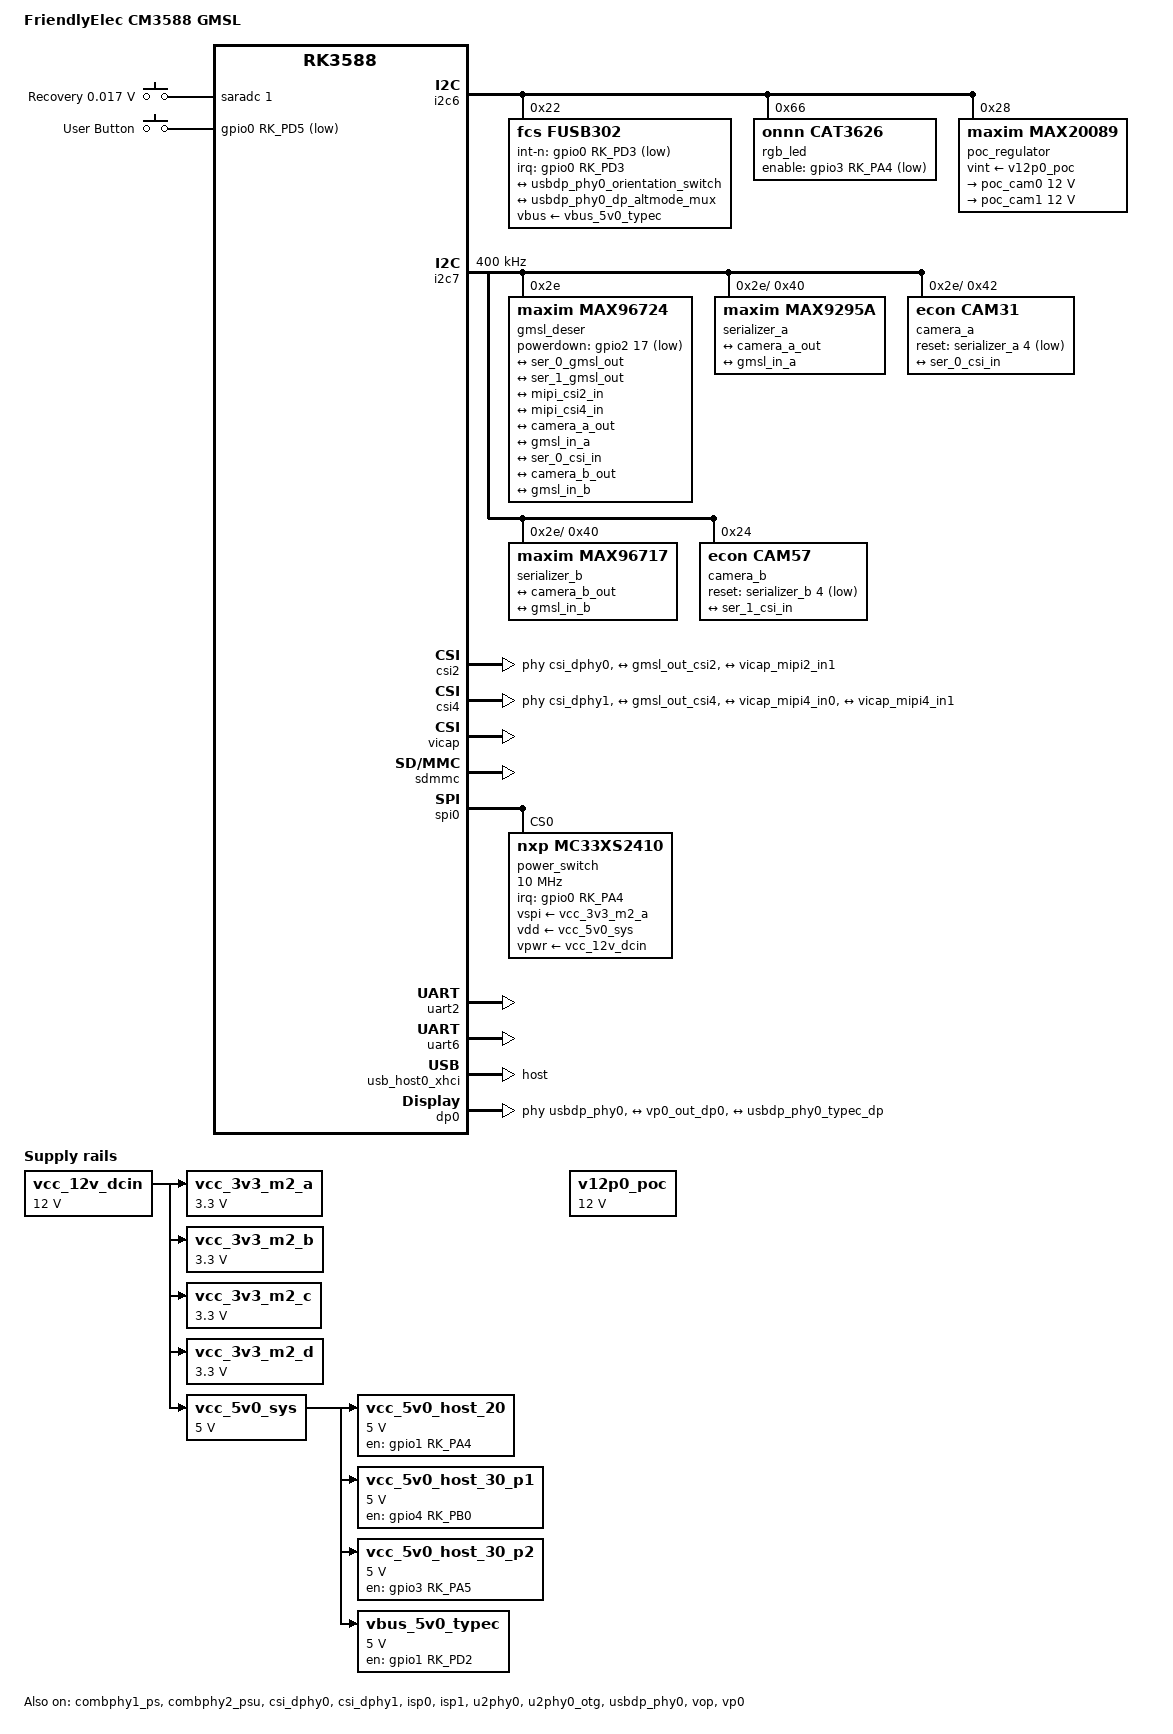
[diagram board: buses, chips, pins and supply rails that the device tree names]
// SPDX-License-Identifier: (GPL-2.0+ OR MIT)
/*
 * Copyright (c) 2021 Rockchip Electronics Co., Ltd.
 * Copyright (c) 2023 Thomas McKahan
 * Copyright (c) 2024 Sebastian Kropatsch
 *
 */

/dts-v1/;

#include <dt-bindings/gpio/gpio.h>
#include <dt-bindings/input/input.h>
#include <dt-bindings/pinctrl/rockchip.h>
#include <dt-bindings/soc/rockchip,vop2.h>
#include <dt-bindings/usb/pd.h>
#include <dt-bindings/leds/common.h>

#include "rk3588-friendlyelec-cm3588.dtsi"
#include "rk3588-rkvenc-mpp.dtsi"

#define ENABLE_CAM31 1

/ {
	model = "FriendlyElec CM3588 GMSL";
	compatible = "friendlyarm,cm3588-gmsl", "friendlyarm,cm3588", "rockchip,rk3588";

	adc_key_recovery: adc-key-recovery {
		compatible = "adc-keys";
		io-channels = <&saradc 1>;
		io-channel-names = "buttons";
		keyup-threshold-microvolt = <1800000>;
		poll-interval = <100>;

		button-recovery {
			label = "Recovery";
			linux,code = <KEY_VENDOR>;
			press-threshold-microvolt = <17000>;
		};
	};

	analog-sound {
		compatible = "simple-audio-card";

		simple-audio-card,format = "i2s";
		simple-audio-card,mclk-fs = <256>;
		simple-audio-card,name = "realtek,rt5616-codec";

		simple-audio-card,routing =
			"Headphones", "HPOL",
			"Headphones", "HPOR",
			"MIC1", "Microphone Jack",
			"Microphone Jack", "micbias1";
		simple-audio-card,widgets =
			"Headphone", "Headphones",
			"Microphone", "Microphone Jack";

		simple-audio-card,cpu {
			sound-dai = <&i2s0_8ch>;
		};

		simple-audio-card,codec {
			sound-dai = <&rt5616>;
		};
	};

	gpio_keys: gpio-keys {
		compatible = "gpio-keys";
		pinctrl-names = "default";
		pinctrl-0 = <&key1_pin>;

		button-user {
			debounce-interval = <50>;
			gpios = <&gpio0 RK_PD5 GPIO_ACTIVE_LOW>;
			label = "User Button";
			linux,code = <BTN_1>;
			wakeup-source;
		};
	};

	vcc_12v_dcin: regulator-vcc-12v-dcin {
		compatible = "regulator-fixed";
		regulator-name = "vcc_12v_dcin";
		regulator-always-on;
		regulator-boot-on;
		regulator-min-microvolt = <12000000>;
		regulator-max-microvolt = <12000000>;
	};

	vcc_3v3_m2_a: regulator-vcc-3v3-m2-a {
		compatible = "regulator-fixed";
		regulator-name = "vcc_3v3_m2_a";
		regulator-always-on;
		regulator-boot-on;
		regulator-min-microvolt = <3300000>;
		regulator-max-microvolt = <3300000>;
		vin-supply = <&vcc_12v_dcin>;
	};

	vcc_3v3_m2_b: regulator-vcc-3v3-m2-b {
		compatible = "regulator-fixed";
		regulator-name = "vcc_3v3_m2_b";
		regulator-always-on;
		regulator-boot-on;
		regulator-min-microvolt = <3300000>;
		regulator-max-microvolt = <3300000>;
		vin-supply = <&vcc_12v_dcin>;
	};

	vcc_3v3_m2_c: regulator-vcc-3v3-m2-c {
		compatible = "regulator-fixed";
		regulator-name = "vcc_3v3_m2_c";
		regulator-always-on;
		regulator-boot-on;
		regulator-min-microvolt = <3300000>;
		regulator-max-microvolt = <3300000>;
		vin-supply = <&vcc_12v_dcin>;
	};

	vcc_3v3_m2_d: regulator-vcc-3v3-m2-d {
		compatible = "regulator-fixed";
		regulator-name = "vcc_3v3_m2_d";
		regulator-always-on;
		regulator-boot-on;
		regulator-min-microvolt = <3300000>;
		regulator-max-microvolt = <3300000>;
		vin-supply = <&vcc_12v_dcin>;
	};

	/* vcc_5v0_sys powers the peripherals */
	vcc_5v0_sys: regulator-vcc-5v0-sys {
		compatible = "regulator-fixed";
		regulator-name = "vcc_5v0_sys";
		regulator-always-on;
		regulator-boot-on;
		regulator-min-microvolt = <5000000>;
		regulator-max-microvolt = <5000000>;
		vin-supply = <&vcc_12v_dcin>;
	};

	/* SY6280AAC power switch (U14 in schematics) */
	vcc_5v0_host_20: regulator-vcc-5v0-host-20 {
		compatible = "regulator-fixed";
		enable-active-high;
		gpios = <&gpio1 RK_PA4 GPIO_ACTIVE_HIGH>;
		pinctrl-names = "default";
		pinctrl-0 = <&vcc_5v0_host20_en>;
		regulator-name = "vcc_5v0_host_20";
		regulator-min-microvolt = <5000000>;
		regulator-max-microvolt = <5000000>;
		vin-supply = <&vcc_5v0_sys>;
	};

	/* SY6280AAC power switch (U8 in schematics) */
	vcc_5v0_host_30_p1: regulator-vcc-5v0-host-30-p1 {
		compatible = "regulator-fixed";
		enable-active-high;
		gpios = <&gpio4 RK_PB0 GPIO_ACTIVE_HIGH>;
		pinctrl-names = "default";
		pinctrl-0 = <&vcc_5v0_host30p1_en>;
		regulator-name = "vcc_5v0_host_30_p1";
		regulator-min-microvolt = <5000000>;
		regulator-max-microvolt = <5000000>;
		vin-supply = <&vcc_5v0_sys>;
	};

	/* SY6280AAC power switch (U9 in schematics) */
	vcc_5v0_host_30_p2: regulator-vcc-5v0-host-30-p2 {
		compatible = "regulator-fixed";
		enable-active-high;
		gpios = <&gpio3 RK_PA5 GPIO_ACTIVE_HIGH>;
		pinctrl-names = "default";
		pinctrl-0 = <&vcc_5v0_host30p2_en>;
		regulator-name = "vcc_5v0_host_30_p2";
		regulator-min-microvolt = <5000000>;
		regulator-max-microvolt = <5000000>;
		vin-supply = <&vcc_5v0_sys>;
	};

	/* SY6280AAC power switch (U10 in schematics) */
	vbus_5v0_typec: regulator-vbus-5v0-typec {
		compatible = "regulator-fixed";
		enable-active-high;
		gpios = <&gpio1 RK_PD2 GPIO_ACTIVE_HIGH>;
                regulator-always-on;
                regulator-boot-on;
		pinctrl-names = "default";
		pinctrl-0 = <&typec_5v_pwr_en>;
		regulator-name = "vbus_5v0_typec";
		regulator-min-microvolt = <5000000>;
		regulator-max-microvolt = <5000000>;
		vin-supply = <&vcc_5v0_sys>;
	};

	v12p0_poc: v12p0-poc-regulator {
		compatible = "regulator-fixed";
		regulator-name = "v12p0_poc";
		regulator-min-microvolt = <12000000>;
		regulator-max-microvolt = <12000000>;
		regulator-always-on;
	};
};

/* vcc_4v0_sys powers the RK806 and RK860's */
&vcc_4v0_sys {
	vin-supply = <&vcc_12v_dcin>;
};

/* Combo PHY 1 is configured to act as as PCIe 2.0 PHY */
/* Used by PCIe controller 2 (pcie2x1l0) */
&combphy1_ps {
	status = "okay";
};

/* Combo PHY 2 is configured to act as USB3 PHY */
/* Used by USB 3.0 OTG 2 controller (USB 3.0 Type-A port 2) */
/* CM3588 USB Controller Config Table: USB30 HOST2 */
&combphy2_psu {
	status = "okay";
};

/* GPIO names are in the format "Human-readable-name [SIGNAL_LABEL]" */
/* Signal labels match the official CM3588 NAS SDK schematic revision 2309 */
&gpio0 {
	gpio-line-names =
		/* GPIO0 A0-A7 */
		"", "", "", "",
		"MicroSD detect [SDMMC_DET_L]", "", "", "",
		/* GPIO0 B0-B7 */
		"", "", "", "",
		"", "", "", "",
		/* GPIO0 C0-C7 */
		"", "", "", "",
		"Pin 10 [UART0_RX_M0]", "Pin 08 [UART0_TX_M0]", "", "",
		/* GPIO0 D0-D7 */
		"", "", "", "USB3 Type-C [CC_INT_L]",
		"", "User Button", "", "";
};

&gpio1 {
	gpio-line-names =
		/* GPIO1 A0-A7 */
		"Pin 27 [UART6_RX_M1]", "Pin 28 [UART6_TX_M1]", "", "",
		"USB2 Type-A [USB2_PWREN]", "", "", "Pin 15",
		/* GPIO1 B0-B7 */
		"Pin 26", "Pin 21 [SPI0_MISO_M2]", "Pin 19 [SPI0_MOSI_M2/UART4_RX_M2]", "Pin 23 [SPI0_CLK_M2/UART4_TX_M2]",
		"Pin 24 [SPI0_CS0_M2/UART7_RX_M2]", "Pin 22 [SPI0_CS1_M0/UART7_TX_M2]", "", "CSI-Pin 14 [MIPI_CAM2_CLKOUT]",
		/* GPIO1 C0-C7 */
		"", "", "", "",
		"Headphone detect [HP_DET_L]", "", "", "",
		/* GPIO1 D0-D7 */
		"", "", "USB3 Type-C [TYPEC5V_PWREN_H]", "",
		"", "HDMI-in detect [HDMIIRX_DET_L]", "Pin 05 [I2C8_SCL_M2]", "Pin 03 [I2C8_SDA_M2]";
};

&gpio2 {
	gpio-line-names =
		/* GPIO2 A0-A7 */
		"", "", "", "",
		"", "", "SPI NOR Flash [FSPI_D0_M1]", "SPI NOR Flash [FSPI_D1_M1]",
		/* GPIO2 B0-B7 */
		"SPI NOR Flash [FSPI_D2_M1]", "SPI NOR Flash [FSPI_D3_M1]", "", "SPI NOR Flash [FSPI_CLK_M1]",
		"SPI NOR Flash [FSPI_CSN0_M1]", "", "", "",
		/* GPIO2 C0-C7 */
		"", "CSI-Pin 11 [MIPI_CAM2_RESET_L]", "CSI-Pin 12 [MIPI_CAM2_PDN_L]", "",
		"", "", "", "",
		/* GPIO2 D0-D7 */
		"", "", "", "",
		"", "", "", "";
};

&gpio3 {
	gpio-line-names =
		/* GPIO3 A0-A7 */
		"Pin 35 [SPI4_MISO_M1]", "Pin 38 [SPI4_MOSI_M1]", "Pin 40 [SPI4_CLK_M1/UART8_TX_M1]", "Pin 36 [SPI4_CS0_M1/UART8_RX_M1]",
		"Pin 37 [SPI4_CS1_M1]", "USB3-A #2 [USB3_2_PWREN]", "DSI-Pin 12 [LCD_RST]", "",
		/* GPIO3 B0-B7 */
		"", "DSI-Pin 10 [LCD_BL]", "Pin 07", "Pin 16",
		"Pin 18", "Pin 29 [UART3_TX_M1]", "Pin 31 [UART3_RX_M1]", "Pin 12",
		/* GPIO3 C0-C7 */
		"DSI-Pin 08 [TP_INT_L]", "DSI-Pin 14 [TP_RST_L]", "Pin 11", "Pin 13",
		"", "", "", "DSI-Pin 06 [I2C5_SCL_M0_TP]",
		/* GPIO3 D0-D7 */
		"DSI-Pin 05 [I2C5_SDA_M0_TP]", "", "", "",
		"", "", "", "";
};

&gpio4 {
	gpio-line-names =
		/* GPIO4 A0-A7 */
		"", "", "M.2 M-Key Slot4 [M2_D_PERST_L]", "",
		"", "", "", "",
		/* GPIO4 B0-B7 */
		"USB3-A #1 [USB3_TYPEC1_PWREN]", "", "", "M.2 M-Key Slot3 [M2_C_PERST_L]",
		"M.2 M-Key Slot2 [M2_B_PERST_L]", "M.2 M-Key Slot1 [M2_A_CLKREQ_L]", "M.2 M-Key Slot1 [M2_A_PERST_L]", "",
		/* GPIO4 C0-C7 */
		"", "", "", "",
		"", "", "", "",
		/* GPIO4 D0-D7 */
		"", "", "", "",
		"", "", "", "";
};

&i2c6 {
	status = "okay";
	#address-cells = <1>;
	#size-cells = <0>;

	fusb302: typec-portc@22 {
		compatible = "fcs,fusb302";
		reg = <0x22>;
		interrupt-parent = <&gpio0>;
		interrupts = <RK_PD3 IRQ_TYPE_LEVEL_LOW>;
		int-n-gpios = <&gpio0 RK_PD3 GPIO_ACTIVE_LOW>;
		pinctrl-names = "default";
		pinctrl-0 = <&usbc0_int>;
		vbus-supply = <&vbus_5v0_typec>;
		status = "okay";

		usb_con: connector {
			compatible = "usb-c-connector";
			label = "USB-C";
			data-role = "host";
			power-role = "source";
			/* Set Rp pull-up current explicitly to 1.5A mode */
			typec-power-opmode = "1.5A";
			source-pdos = <PDO_FIXED(5000, 2000, PDO_FIXED_USB_COMM)>;
			vbus-supply = <&vbus_5v0_typec>;

                        mode-switch = <&usbdp_phy0>;
                        orientation-switch = <&usbdp_phy0>;

			altmodes {
				#address-cells = <1>;
				#size-cells = <0>;

				altmode@0 {
					reg = <0>;
					svid = <0xff01>;
					vdo = <0xffffffff>;
				};
			};

			ports {
				#address-cells = <1>;
				#size-cells = <0>;

				port@0 {
					reg = <0>;
					usbc0_orien_sw: endpoint {
						remote-endpoint = <&usbdp_phy0_orientation_switch>;
					};
				};

				port@1 {
					reg = <1>;
					dp_altmode_mux: endpoint {
						remote-endpoint = <&usbdp_phy0_dp_altmode_mux>;
					};
				};
			};
		};
	};

	rgb_led: led-controller@66 {
		compatible = "onnn,cat3626";
		reg = <0x66>;
                #address-cells = <1>;
                #size-cells = <0>;
                
		pinctrl-names = "default";
		pinctrl-0 = <&rgb_enable_pin>;
		enable-gpios = <&gpio3 RK_PA4 GPIO_ACTIVE_LOW>;

		multi-led {
			color = <LED_COLOR_ID_RGB>;

			#address-cells = <1>;
			#size-cells = <0>;

			led@0 {
			    reg = <0>;
			    color = <LED_COLOR_ID_RED>;
			};

			led@1 {
			    reg = <1>;
			    color = <LED_COLOR_ID_GREEN>;
			};

			led@2 {
			    reg = <2>;
			    color = <LED_COLOR_ID_BLUE>;
			};
		};
	};

	poc_regulator: poc-switches@28 {
		compatible = "maxim,max20089";
		reg = <0x28>;
		vint-supply = <&v12p0_poc>;
		maxim,outputs = <2>;
		status = "okay";

		regulators {
			#address-cells = <1>;
			#size-cells = <0>;

			poc_cam0: out1 {
				reg = <0>;
				regulator-name = "poc_cam0";
				regulator-min-microvolt = <12000000>;
				regulator-max-microvolt = <12000000>;
				regulator-always-on;
				regulator-boot-on;
			};

			poc_cam1: out2 {
				reg = <1>;
				regulator-name = "poc_cam1";
				regulator-min-microvolt = <12000000>;
				regulator-max-microvolt = <12000000>;
				regulator-always-on;
				regulator-boot-on;
			};
		};
	};
};

/* =================================================================
 * I2C7: MAX96724 Deserializer + Downstream Devices
 * ================================================================= */
&i2c7 {
    status = "okay";
    clock-frequency = <400000>;

    gmsl_deser: deserializer@2e {
        compatible = "maxim,max96724";
        reg = <0x2e>;

        i2c-alias-pool = <0x64 0x65 0x66 0x67 0x68 0x69 0x6a 0x6b>;

        pinctrl-names = "default";
        pinctrl-0 = <&deser_pwdn_pin>;
        powerdown-gpios = <&gpio2 17 GPIO_ACTIVE_LOW>;

        #address-cells = <1>;
        #size-cells = <0>;

        ports {
            #address-cells = <1>;
            #size-cells = <0>;

#if ENABLE_CAM31
            /* STURDeCAM31 on Link A */
            port@0 {
                reg = <0>;
                gmsl_in_a: endpoint {
                    remote-endpoint = <&ser_0_gmsl_out>;
                };
            };
#endif

            /* STURDeCAM57 on Link B */
            port@1 {
                reg = <1>;
                gmsl_in_b: endpoint {
                    remote-endpoint = <&ser_1_gmsl_out>;
                };
            };


#if ENABLE_CAM31
            /* Pad 4: MIPI PHY 0 (2-lane CAM31) */
            port@4 {
                reg = <4>;
                gmsl_out_csi2: endpoint {
                    remote-endpoint = <&mipi_csi2_in>;
                    data-lanes = <1 2>;
                };
            };
#endif

            /* Pad 6: MIPI PHY 2/3 (4-lane CAM57) */
            port@6 {
                reg = <6>;
                gmsl_out_csi4: endpoint {
                    remote-endpoint = <&mipi_csi4_in>;
                    data-lanes = <1 2 3 4>;
                    link-frequencies = /bits/ 64 <750000000>;
                };
            };
        };

        i2c-atr {
            #address-cells = <1>;
            #size-cells = <0>;

#if ENABLE_CAM31
            /* Link 0: STURDeCAM31 (Sony ISX031) */
            i2c@0 {
                #address-cells = <1>;
                #size-cells = <0>;
                reg = <0>;

                serializer_a: serializer@40 {
                    compatible = "maxim,max9295a";
                    reg = <0x40>;
                    gpio-controller;
                    #gpio-cells = <2>;
                    gpio-ranges = <&serializer_a 0 0 11>;

                    ports {
                        #address-cells = <1>;
                        #size-cells = <0>;

                        port@0 {
                            reg = <0>;
                            ser_0_csi_in: endpoint {
                                remote-endpoint = <&camera_a_out>;
                            };
                        };

                        port@1 {
                            reg = <1>;
                            ser_0_gmsl_out: endpoint {
                                remote-endpoint = <&gmsl_in_a>;
                            };
                        };
                    };
                };

                camera_a: sensor@42 {
                    compatible = "econ,cam31";
                    reg = <0x42>;
                    reset-gpios = <&serializer_a 4 GPIO_ACTIVE_LOW>;

                    port {
                        camera_a_out: endpoint {
                            remote-endpoint = <&ser_0_csi_in>;
                            data-lanes = <1 2>;
                        };
                    };
                };
            };
#endif

            /* Link 1: STURDeCAM57 (OmniVision OX05B1S) */
            i2c@1 {
                #address-cells = <1>;
                #size-cells = <0>;
                reg = <1>;

                serializer_b: serializer@40 {
                    compatible = "maxim,max96717";
                    reg = <0x40>;
                    gpio-controller;
                    #gpio-cells = <2>;
                    gpio-ranges = <&serializer_b 0 0 5>;

		    ports {
                        #address-cells = <1>;
                        #size-cells = <0>;

                        port@0 {
                            reg = <0>;
                            ser_1_csi_in: endpoint {
                                remote-endpoint = <&camera_b_out>;
                            };
                        };

                        port@1 {
                            reg = <1>;
                            ser_1_gmsl_out: endpoint {
                                remote-endpoint = <&gmsl_in_b>;
                            };
                        };
                    };
                };
            };
        };
    };

    /*
     * Define CAM57 outside the i2c-atr because it manages its own
     * pca9640 I2C mux connected to the MAX96717 serializer.
     */
    camera_b: sensor@24 {
        compatible = "econ,cam57";
        reg = <0x24>;
        reset-gpios = <&serializer_b 4 GPIO_ACTIVE_LOW>;

        port {
             camera_b_out: endpoint {
                 remote-endpoint = <&ser_1_csi_in>;
                 data-lanes = <1 2 3 4>;
             };
        };
    };
};

/* =================================================================
 * 2. MIPI D-PHY0 & CSI2 Host Controller (CAM31 - 2 Lanes, ISP Bypass)
 * ================================================================= */
#if ENABLE_CAM31
&csi_dphy0 {
        status = "okay";
};

&csi2 {
	status = "okay";
        phys = <&csi_dphy0>;
        phy-names = "dphy";

	ports {
		#address-cells = <1>;
		#size-cells = <0>;

		port@0 {
			reg = <0>;
			mipi_csi2_in: endpoint {
				remote-endpoint = <&gmsl_out_csi2>;
				data-lanes = <1 2>;
			};
		};

		/* Direct Output to VICAP (Path 2) */
		port@1 {
			reg = <1>;
			mipi_csi2_out: endpoint {
				remote-endpoint = <&vicap_mipi2_in1>;
			};
		};
	};
};
#endif

/* =================================================================
 * 3. MIPI D-PHY1 & CSI4 Host Controller (CAM57 - 4 Lanes, VC0/VC1)
 * ================================================================= */

&csi_dphy1 {
        status = "okay";
};

&csi4 {
	status = "okay";
        phys = <&csi_dphy1>;
        phy-names = "dphy";

	ports {
		#address-cells = <1>;
		#size-cells = <0>;

		/* Port 0: Receive directly from Deserializer PHY Output */
		port@0 {
			reg = <0>;
			mipi_csi4_in: endpoint {
				remote-endpoint = <&gmsl_out_csi4>;
				data-lanes = <1 2 3 4>;
			};
		};

		/* Port 1: Output to VICAP */
		port@1 {
			reg = <1>;
			#address-cells = <1>;
			#size-cells = <0>;

			mipi_csi4_out0: endpoint@0 {
				reg = <0>;
				remote-endpoint = <&vicap_mipi4_in0>;
			};

			mipi_csi4_out1: endpoint@1 {
				reg = <1>;
				remote-endpoint = <&vicap_mipi4_in1>;
			};
		};
	};
};

/* =================================================================
 * Enable VICAP & VICAP System MMU
 * ================================================================= */
&vicap_mmu {
	status = "okay";
};

&vicap {
	status = "okay";

	mipi_csi2 {
		status = "okay";

		ports {
			#address-cells = <1>;
			#size-cells = <0>;

			/* CAM57 VC0 (RGB) Input from CSI4 */
			port@0 {
				reg = <0>;
				vicap_mipi4_in0: endpoint {
					remote-endpoint = <&mipi_csi4_out0>;
				};
			};

			/* CAM57 VC1 (IR) Input from CSI4 */
			port@1 {
				reg = <1>;
				vicap_mipi4_in1: endpoint {
					remote-endpoint = <&mipi_csi4_out1>;
				};
			};

#if ENABLE_CAM31
			/* CAM31 Input from CSI2 (Bypass Path) */
			port@2 {
				reg = <2>;
				vicap_mipi2_in1: endpoint {
					remote-endpoint = <&mipi_csi2_out>;
				};
			};
#endif
		};
	};

	/* VICAP Output Ports to ISP Engines */
	vicap_outputs {
		#address-cells = <1>;
		#size-cells = <0>;

		/* VICAP Stream 0 -> ISP0 (CAM57 RGB Processing) */
		port@0 {
			reg = <0>;
			vicap_isp0_out: endpoint {
				remote-endpoint = <&isp0_input>;
			};
		};

		/* VICAP Stream 1 -> ISP1 (CAM57 IR Processing) */
		port@1 {
			reg = <1>;
			vicap_isp1_out: endpoint {
				remote-endpoint = <&isp1_input>;
			};
		};

		/* Stream 2 (CAM31) requires no ISP output endpoint here; 
		 * vicap routes it directly to DMA ring buffers (/dev/video2). */
	};
};

&isp0_mmu {
	status = "okay";
};

&isp0 {
	status = "okay";

	ports {
		#address-cells = <1>;
		#size-cells = <0>;

		/* Input Port: Accepts VC0 (RGB) stream from VICAP / VICAP */
		port@0 {
			reg = <0>;
			isp0_input: endpoint {
				remote-endpoint = <&vicap_isp0_out>;
			};
		};
	};
};

&isp1_mmu {
	status = "okay";
};

&isp1 {
	status = "okay";

	ports {
		#address-cells = <1>;
		#size-cells = <0>;

		/* Input Port: Accepts VC1 (IR) stream from VICAP / VICAP */
		port@0 {
			reg = <0>;
			isp1_input: endpoint {
				remote-endpoint = <&vicap_isp1_out>;
			};
		};
	};
};

&pcie2x1l0 {
        status = "disabled";
};

&pcie30phy {
	status = "disabled";
};

&pcie3x4 {
	status = "disabled";
};

&pcie3x2 {
	status = "disabled";
};

&pinctrl {
	gpio-key {
		key1_pin: key1-pin {
			rockchip,pins = <0 RK_PD5 RK_FUNC_GPIO &pcfg_pull_up>;
		};
	};

	hdmirx {
		hdmirx_hpd: hdmirx-5v-detection {
			rockchip,pins = <3 RK_PD4 RK_FUNC_GPIO &pcfg_pull_up>;
		};
	};

	pcie {
		pcie2_0_rst: pcie2-0-rst {
			rockchip,pins = <4 RK_PB4 RK_FUNC_GPIO &pcfg_pull_none>;
		};

		pcie2_1_rst: pcie2-1-rst {
			rockchip,pins = <4 RK_PA2 RK_FUNC_GPIO &pcfg_pull_none>;
		};

		pcie3x2_rst: pcie3x2-rst {
			rockchip,pins = <4 RK_PB3 RK_FUNC_GPIO &pcfg_pull_none>;
		};

		pcie3x4_rst: pcie3x4-rst {
			rockchip,pins = <4 RK_PB6 RK_FUNC_GPIO &pcfg_pull_none>;
		};
	};

	usb {
		vcc_5v0_host20_en: vcc-5v0-host20-en {
			rockchip,pins = <1 RK_PA4 RK_FUNC_GPIO &pcfg_pull_none>;
		};

		vcc_5v0_host30p1_en: vcc-5v0-host30p1-en {
			rockchip,pins = <4 RK_PB0 RK_FUNC_GPIO &pcfg_pull_none>;
		};

		vcc_5v0_host30p2_en: vcc-5v0-host30p2-en {
			rockchip,pins = <3 RK_PA5 RK_FUNC_GPIO &pcfg_pull_none>;
		};
	};

	usb-typec {
		usbc0_int: usbc0-int {
			rockchip,pins = <0 RK_PD3 RK_FUNC_GPIO &pcfg_pull_up>;
		};

		typec_5v_pwr_en: typec-5v-pwr-en {
			rockchip,pins = <1 RK_PD2 RK_FUNC_GPIO &pcfg_pull_none>;
		};
	};

        gmsl-deser {
		deser_pwdn_pin: deser-pwdn-pin {
			rockchip,pins = <2 RK_PC1 RK_FUNC_GPIO &pcfg_pull_up>;
		};
	};

        rgb-led {
                rgb_enable_pin: rgb-enable-pin {
			rockchip,pins = <3 RK_PA4 RK_FUNC_GPIO &pcfg_pull_up>;
                };
        };
};

/* microSD card */
&sdmmc {
	status = "okay";
};

&spi0 {
	status = "okay";
	pinctrl-0 = <&spi0m2_cs0 &spi0m2_pins>;
	power_switch: switch@0 {
		compatible = "nxp,mc33xs2410";
		reg = <0x0>; /* SPI Chip Select 0 */
		spi-max-frequency = <10000000>; /* 10 MHz max SPI clock */
		spi-cpha; /* SPI Mode 1 (CPOL=0, CPHA=1) */

		/* Power Supplies from Schematic */
		vspi-supply = <&vcc_3v3_m2_a>; /* Pin 10 VSPI (+3.3V) */
		vdd-supply = <&vcc_5v0_sys>;   /* Pin 19 VDD (+5.0V) */
		vpwr-supply = <&vcc_12v_dcin>;   /* VPWR Pins (+13.6V) */

		/* Fault Interrupt Line (Pin 4 FAULT_N) */
		interrupt-parent = <&gpio0>;
		interrupts = <RK_PA4 IRQ_TYPE_LEVEL_LOW>;

		/* Required by the kernel driver framework to probe */
		#pwm-cells = <3>;

		channels {
			#address-cells = <1>;
			#size-cells = <0>;

			channel@0 {
				reg = <0>;
				status = "disabled";
			};

			channel@1 {
				reg = <1>;
				status = "disabled";
			};

			channel@2 {
				reg = <2>;
				status = "disabled";
			};

			/* Channel 4 (OUT4 - PWR_SPEAKER) */
			channel@3 {
				reg = <3>;
				label = "pwr_speaker";
				status = "okay";
			};
		};
	};
};

/* GPIO Connector, connected to 40-pin GPIO header */
/* Shared with UART8 */
&spi4 {
	num-cs = <1>;
	pinctrl-names = "default";
	pinctrl-0 = <&spi4m1_cs0 &spi4m1_pins>;
	status = "disabled";
};

/* GPIO Connector, connected to 40-pin GPIO header */
&uart0 {
	pinctrl-names = "default";
	pinctrl-0 = <&uart0m0_xfer>;
	status = "disabled";
};

/* Debug UART */
&uart2 {
	status = "okay";
};

/* GPIO Connector, connected to 40-pin GPIO header */
&uart3 {
	pinctrl-names = "default";
	pinctrl-0 = <&uart3m1_xfer>;
	status = "disabled";
};

/* GPIO Connector, connected to 40-pin GPIO header */
/* Shared with SPI0 */
&uart4 {
	pinctrl-names = "default";
	pinctrl-0 = <&uart4m2_xfer>;
	status = "disabled";
};

/* GPIO Connector, connected to 40-pin GPIO header */
&uart6 {
	pinctrl-names = "default";
	pinctrl-0 = <&uart6m1_xfer>;
	status = "okay";
};

/* GPIO Connector, connected to 40-pin GPIO header */
/* Shared with SPI0 */
&uart7 {
	pinctrl-names = "default";
	pinctrl-0 = <&uart7m2_xfer>;
	status = "disabled";
};

/* GPIO Connector, connected to 40-pin GPIO header */
/* Shared with SPI4 */
&uart8 {
	pinctrl-names = "default";
	pinctrl-0 = <&uart8m1_xfer>;
	status = "disabled";
};

/* USB2 PHY for USB Type-C port */
/* CM3588 USB Controller Config Table: USB20 OTG0 */
&u2phy0 {
	status = "okay";
};

&u2phy0_otg {
	phy-supply = <&vbus_5v0_typec>;
	status = "okay";
};

/* USB Type-C */
/* PHYs: <&u2phy0_otg>, <&usbdp_phy0 PHY_TYPE_USB3> */
/* USB Type-C / DWC3 Controller */
&usb_host0_xhci {
	status = "okay";
	dr_mode = "host";
	maximum-speed = "super-speed";
};

/* USB3/DP Combo PHY 0 (Connected to Type-C Port & DP0 Controller) */
&usbdp_phy0 {
	status = "okay";
	mode-switch;
	orientation-switch;
	rockchip,dp-lane-mux = <0 1 2 3>; /* Updated for FriendlyElec / CM3588 PCB routing */
	sbu1-dc-gpios = <&gpio4 RK_PA6 GPIO_ACTIVE_HIGH>;
	sbu2-dc-gpios = <&gpio4 RK_PA7 GPIO_ACTIVE_HIGH>;

	ports {
		#address-cells = <1>;
		#size-cells = <0>;

		/* Port 0: Type-C Orientation Switch -> fusb302 port@1 */
		port@0 {
			reg = <0>;
			usbdp_phy0_orientation_switch: endpoint {
				remote-endpoint = <&usbc0_orien_sw>;
			};
		};

		/* Port 1: Type-C DP AltMode Mux -> fusb302 port@2 */
		port@1 {
			reg = <1>;
			usbdp_phy0_dp_altmode_mux: endpoint {
				remote-endpoint = <&dp_altmode_mux>;
			};
		};

		/* Port 2: Internal DP Controller Link -> &dp0 */
		port@2 {
			reg = <2>;
			usbdp_phy0_typec_dp: endpoint {
				remote-endpoint = <&dp0_in_typec>;
			};
		};
	};
};

/* Enable VOP2 and VOP MMU */
&vop {
	status = "okay";
};

&vop_mmu {
	status = "okay";
};

/* Define the output endpoint inside VP0 */
&vp0 {
	status = "okay";

	vp0_out_dp0: endpoint {
		remote-endpoint = <&dp0_in_vp0>;
	};
};

&dp0 {
	status = "okay";
	pinctrl-names = "default";
	pinctrl-0 = <&dp0m0_pins>;
	phys = <&usbdp_phy0 PHY_TYPE_DP>;
	phy-names = "dp";

	ports {
		#address-cells = <1>;
		#size-cells = <0>;

		/* Port 0: Video Input from VOP2 VP0 (REQUIRED) */
		port@0 {
			reg = <0>;

			dp0_in_vp0: endpoint {
				remote-endpoint = <&vp0_out_dp0>;
			};
		};

		/* Port 1: Output to USB-C Combo PHY (REQUIRED FOR DP ALTMODE) */
		port@1 {
			reg = <1>;

			dp0_in_typec: endpoint {
				remote-endpoint = <&usbdp_phy0_typec_dp>;
			};
		};
	};
};
